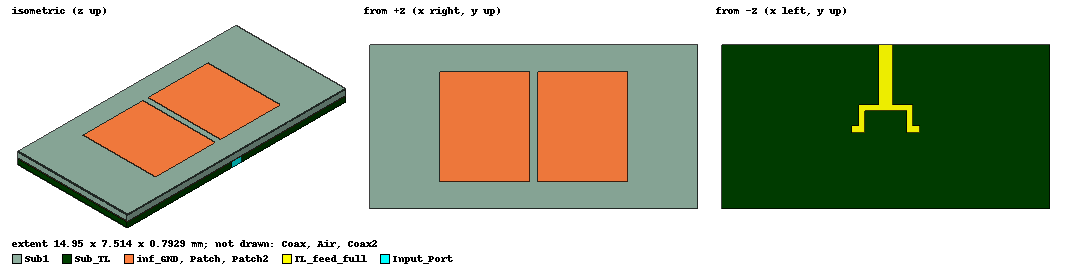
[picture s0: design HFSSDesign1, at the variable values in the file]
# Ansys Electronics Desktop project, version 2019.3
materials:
  vacuum: permittivity=1
  Rogers RT/duroid 5880 (tm): permittivity=2.2 dielectric_loss_tangent=0.0009
  pec: conductivity=1e+30
  Rogers RO4003 (tm): permittivity=3.55 dielectric_loss_tangent=0.0027

design HFSSDesign1 (HFSS, DrivenModal, model units mm)
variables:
  Lp = 4.1mm  # optimise 1mm..9mm
  Wp = 4.97mm  # optimise 1.4mm..15mm
  hs = 0.39905794mm
  Ws = 7.513757609mm  # optimise 2mm..13mm
  Ls = 14.9466269mm  # optimise 8mm..20mm
  xsub = -Ls/2
  ysub = -Ws/2
  xfeed = 1.232164046mm
  dp = 0.35597862mm  # optimise 0.1mm..2mm
  rcoax = 0.15610762mm
  hcoax = 0.39381209mm
  rprope = 0.07mm
  Lair = 0.01+Ls
  Wair = 0.01+Ws
  xair = Lair/2
  yair = Wair/2
  hair = 5mm
  yfeed = -0.10822552mm
  xp = dp/2
  yp = -Wp/2
  hgnd = 0.031290997mm
  hsubTL = hcoax
  WTLfeed = 0.65771145mm  # optimise 0.1mm..1.5mm
  LTLfeed = 2.741436512mm  # optimise 1.5mm..3.5mm
  LTL_hoz = 2.430367425mm  # optimise 1.5mm..3.5mm
  WTL_In = 0.27356695mm  # optimise 0.1mm..1mm
  Xroax = 2
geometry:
  Sub1 [Rogers RO4003 (tm)] = box(corner=(xsub, ysub, 0mm), size=(Ls, Ws, hs))
  Patch [Rogers RT/duroid 5880 (tm)] = rectangle(corner=(xp, yp, hs), x_size=Lp, y_size=Wp)
  Coax [vacuum] = cylinder(axis=Z, base_centre=(xp+xfeed, yfeed, 0mm), radius=rcoax, height=-hcoax)
  Coax_Pin [pec] = cylinder(axis=Z, base_centre=(xp+xfeed, yfeed, 0mm), radius=rprope, height=-hcoax)
  Prope [pec] = cylinder(axis=Z, base_centre=(xp+xfeed, yfeed, 0mm), radius=rprope, height=hs)
  Air [vacuum] = box(corner=(-xair, -yair, 0), size=(Lair, Wair, hair))
  Patch2 = rectangle(corner=(xp-Lp-dp, yp, hs), x_size=Lp, y_size=Wp)
  Coax2 [vacuum] = cylinder(axis=Z, base_centre=(-(xp+xfeed), yfeed, 0mm), radius=rcoax, height=-hcoax)
  Coax_Pin2 [pec] = cylinder(axis=Z, base_centre=(-(xp+xfeed), yfeed, 0mm), radius=rprope, height=-hcoax)
  Prope2 [pec] = cylinder(axis=Z, base_centre=(-(xp+xfeed), yfeed, 0mm), radius=rprope, height=hs)
  inf_GND [pec] = box(corner=(xsub, ysub, 0mm), size=(Ls, Ws, -hgnd))
  Cylinder_cut_2 = cylinder(axis=Z, base_centre=(-(xp+xfeed), yfeed, 0), radius=rcoax, height=-hgnd)
  Cylinder_cut_1 = cylinder(axis=Z, base_centre=(xp+xfeed, yfeed, 0), radius=rcoax, height=-hgnd)
  inf_GND.subtract(Cylinder_cut_1)
  inf_GND.subtract(Cylinder_cut_2)
  Sub_TL [Rogers RO4003 (tm)] = box(corner=(xsub, ysub, 0mm), size=(Ls, Ws, -hsubTL))
  Input_Port = rectangle(corner=(-WTLfeed/2, Ws/2, -hsubTL), z_size=hsubTL-hgnd, x_size=WTLfeed)
  TL_feed_full = rectangle(corner=(-WTLfeed/2, Ws/2, -hsubTL), x_size=WTLfeed, y_size=-LTLfeed)
  TL_hoz = rectangle(corner=(LTL_hoz/2, Ws/2-LTLfeed, -hsubTL), x_size=-LTL_hoz, y_size=-WTL_In)
  TL1_Ver_Inter = rectangle(corner=(LTL_hoz/2, Ws/2-LTLfeed -WTL_In, -hsubTL), x_size=-WTL_In, y_size=(yfeed-Xroax*rcoax/2)-(Ws/2-LTLfeed -WTL_In-Xroax*rcoax))
  TL2_Ver_Inter = rectangle(corner=(-LTL_hoz/2, Ws/2-LTLfeed -WTL_In, -hsubTL), x_size=WTL_In, y_size=(yfeed-Xroax*rcoax/2)-(Ws/2-LTLfeed -WTL_In-Xroax*rcoax))
  TL1_in_Coax = rectangle(corner=(-(-LTL_hoz/2+WTL_In), yfeed-Xroax*rcoax/2, -hsubTL), x_size=(-LTL_hoz/2+WTL_In)+(xp+xfeed)+Xroax*rcoax/2, y_size=Xroax*rcoax)
  TL_feed_full.unite(TL_hoz)
  TL2_In_Coax = rectangle(corner=(-LTL_hoz/2+WTL_In, yfeed-Xroax*rcoax/2, -hsubTL), x_size=-(-LTL_hoz/2+WTL_In)-(xp+xfeed)-Xroax*rcoax/2, y_size=Xroax*rcoax)
  TL_feed_full.unite(TL1_in_Coax)
  TL_feed_full.unite(TL1_Ver_Inter)
  TL_feed_full.unite(TL2_In_Coax)
  TL_feed_full.unite(TL2_Ver_Inter)
  group Input_feed1 = Coax, Coax_Pin, Prope
  group Input_feed2 = Coax2, Coax_Pin2, Prope2
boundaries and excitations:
  PerfE_Patch: Perfect E Objects=Patch
  Rad1: Radiation Faces=Air.face(+x, +y, -y, -x, +z)
  PerfE1: Perfect E Objects=Patch2
  PerfETL: Perfect E Objects=TL_feed_full
  1: Lumped Port Objects=Input_Port Modes{Mode1{IntLine{middle of Input_Port.edge(z at corner) -> middle of Input_Port.edge(z opposite corner)} CharImp=Zpi RenormImp=50ohm}} Impedance=50ohm
  reference conductors: inf_GND
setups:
  Setup1: HfssDriven Frequency=20GHz MaxDeltaS=0.02 MaximumPasses=18 MinimumPasses=1 MinimumConvergedPasses=1 PercentRefinement=30 BasisOrder=1 PortAccuracy=2
    sweep Sweep: 10GHz to 30GHz step 0.1GHz; Type=Fast SaveFields SaveRadFields GenerateFieldsForAllFreqs
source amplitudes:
  1:1: 1W 0deg
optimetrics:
  OptimizationSetup1: Optimization Optimizer="Quasi Newton" AnalysisStopOptions{StopForNumIteration MaxNumIteration=1000 MinNumIteration=10} CostFuncNormType=L2 Acceptable_Cost=0 Noise=0.0001 UpdateDesignWhenDone
    vary LTL_hoz: Min=1.5mm Max=3.5mm MinStep=0.02432292mm MaxStep=0.2432292mm MinFocus=1.5mm MaxFocus=3.5mm start=2.430367425mm
    vary LTLfeed: Min=1.5mm Max=3.5mm MinStep=0.02728412mm MaxStep=0.2728412mm MinFocus=1.5mm MaxFocus=3.5mm start=2.741436512mm
    vary Lp: Min=1.4mm Max=7mm MinStep=0.0368mm MaxStep=0.368mm MinFocus=1.4mm MaxFocus=7mm start=4.1mm
    vary Ls: Min=12mm Max=16mm MinStep=0.14846mm MaxStep=1.4846mm MinFocus=12mm MaxFocus=16mm start=14.9466269mm
    vary WTL_In: Min=0.1mm Max=1mm MinStep=0.0018mm MaxStep=0.018mm MinFocus=0.1mm MaxFocus=1mm start=0.27356695mm
    vary WTLfeed: Min=0.1mm Max=1.5mm MinStep=0.02mm MaxStep=0.2mm MinFocus=0.1mm MaxFocus=1.5mm start=0.65771145mm
    vary Wp: Min=1mm Max=7mm MinStep=0.0473mm MaxStep=0.473mm MinFocus=1mm MaxFocus=7mm start=4.97mm
    vary Ws: Min=5mm Max=9mm MinStep=0.07406mm MaxStep=0.7406mm MinFocus=5mm MaxFocus=9mm start=7.513757609mm
    vary dp: Min=0.1mm Max=2mm MinStep=0.0034383443mm MaxStep=0.034383443mm MinFocus=0.1mm MaxFocus=2mm start=0.35597862mm
    goal dB(S(1,1)) <= -15 weight 1 on Setup1 : Sweep at Freq 20GHz
    goal dB(S(1,1)) >= -15 weight 1 on Setup1 : Sweep at Freq 19GHz
    goal dB(S(1,1)) >= -15 weight 1 on Setup1 : Sweep at Freq 21GHz
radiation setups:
  e_plane: Infinite Sphere Theta=-180deg..180deg step 2deg Phi=0deg..0deg step 1deg
  h_plane: Infinite Sphere Theta=-180deg..180deg step 2deg Phi=90deg..90deg step 1deg
  3d: Infinite Sphere Theta=-180deg..180deg step 2deg Phi=0deg..360deg step 2deg
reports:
  Eradation_pattern: abs(rETotal) vs Theta on Setup1 : LastAdaptive, e_plane [Phi=all Freq=20GHz]
  Hradation_pattern: abs(rETotal) vs Theta on Setup1 : LastAdaptive, h_plane [Phi=all Freq=20GHz]
  Co_X_graph: dB10normalize(GainPhi), dB10normalize(GainTheta) vs Theta on Setup1 : LastAdaptive, e_plane [Phi=0deg Freq=20GHz]
  Gain Plot 1: GainTotal vs Theta on Setup1 : LastAdaptive, e_plane [Phi=all Freq=20GHz]
  S11_Nominal: dB(S(1,1)) vs Freq on Setup1 : Sweep; markers m1 at 21.8GHz, MX1 at x=2.1802956e+10
  Zin_nominal: mag(Z(1,1)) vs Freq on Setup1 : Sweep; markers MX1 at x=2.0006743e+10
  Gain Plot 2: mag(GainTotal) vs Phi, Theta on Setup1 : LastAdaptive, 3d [Freq=20GHz]
  S Parameter Plot 4: dB(S(1,1)) vs Freq on Setup1 : Sweep [Lp=all Wp=all hs=all Ws=all Ls=all xfeed=all dp=all rcoax=all hcoax=all yfeed=all hgnd=all WTLfeed=all LTLfeed=all LTL_hoz=all WTL_In=all Xroax=all]; markers MX1 at x=2.1789321e+10
